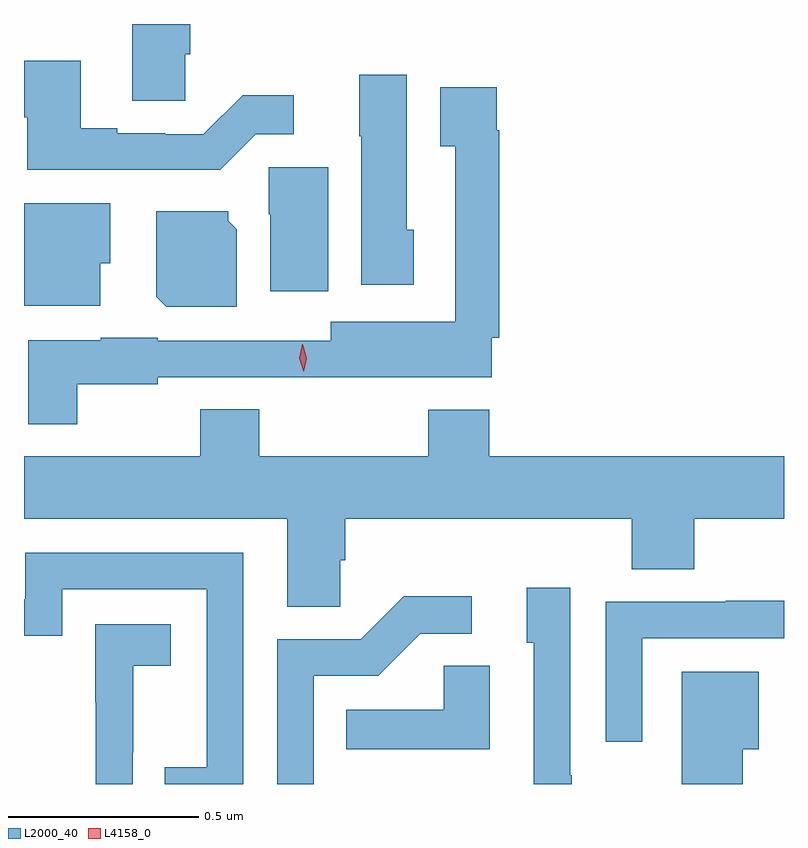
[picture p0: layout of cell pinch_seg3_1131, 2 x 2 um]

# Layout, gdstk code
import gdstk
lib = gdstk.Library(unit=1e-6, precision=1e-09)
def P(c, l, *ps):  # polygons
    for p in ps: c.add(gdstk.Polygon(p, *l))
L2000_40 = (2000, 40)
L4158_0 = (4158, 0)

pinch_seg3_1131 = lib.new_cell('pinch_seg3_1131')
P(pinch_seg3_1131, L2000_40, [(339.618,727.446),(339.632,727.446),(339.632,727.526),(339.479,727.526),(339.479,727.324),(339.618,727.324)],
  [(339.804,727.236),(339.904,727.236),(339.904,727.339),(339.769,727.339),(339.666,727.236),(339.566,727.236),(339.566,727.239),(339.439,727.239),(339.439,727.252),(339.343,727.252),(339.343,727.429),(339.194,727.429),(339.194,727.281),(339.203,727.281),(339.203,727.143),(339.608,727.143),(339.608,727.142),(339.71,727.142)],
  [(340.219,726.984),(340.201,726.984),(340.201,727.393),(340.076,727.393),(340.076,727.23),(340.082,727.23),(340.082,726.84),(340.219,726.84)],
  [(339.334,726.578),(339.546,726.578),(339.546,726.597),(340.063,726.597),(340.063,726.596),(340.425,726.596),(340.425,726.7),(340.445,726.7),(340.445,727.247),(340.438,727.247),(340.438,727.36),(340.289,727.36),(340.289,727.204),(340.329,727.204),(340.329,726.742),(340.001,726.742),(340.001,726.693),(339.546,726.693),(339.546,726.7),(339.396,726.7),(339.396,726.694),(339.205,726.694),(339.205,726.473),(339.334,726.473)],
  [(339.994,727.149),(339.838,727.149),(339.838,727.026),(339.842,727.026),(339.842,726.823),(339.994,726.823)],
  [(339.394,726.897),(339.421,726.897),(339.421,727.054),(339.194,727.054),(339.194,726.785),(339.394,726.785)],
  [(339.754,726.986),(339.732,727.008),(339.732,727.033),(339.542,727.033),(339.542,726.808),(339.568,726.782),(339.754,726.782)],
  [(340.026,726.115),(340.04,726.115),(340.04,726.224),(340.793,726.224),(340.793,726.091),(340.958,726.091),(340.958,726.224),(341.194,726.224),(341.194,726.388),(340.418,726.388),(340.418,726.511),(340.258,726.511),(340.258,726.388),(339.813,726.388),(339.813,726.512),(339.658,726.512),(339.658,726.388),(339.194,726.388),(339.194,726.224),(339.887,726.224),(339.887,725.992),(340.026,725.992)],
  [(339.771,726.135),(339.197,726.135),(339.197,726.012),(339.194,726.012),(339.194,725.916),(339.294,725.916),(339.294,726.039),(339.675,726.039),(339.675,725.57),(339.565,725.57),(339.565,725.526),(339.771,725.526)],
  [(340.635,725.549),(340.632,725.549),(340.632,726.043),(340.517,726.043),(340.517,725.898),(340.536,725.898),(340.536,725.526),(340.635,725.526)],
  [(339.957,725.811),(340.126,725.811),(340.237,725.922),(340.372,725.922),(340.372,726.02),(340.193,726.02),(340.08,725.907),(339.861,725.907),(339.861,725.526),(339.957,725.526)],
  [(340.821,725.91),(341.194,725.91),(341.194,726.008),(341.041,726.008),(341.041,726.006),(340.725,726.006),(340.725,725.637),(340.821,725.637)],
  [(339.48,725.609),(339.482,725.609),(339.482,725.837),(339.58,725.837),(339.58,725.947),(339.382,725.947),(339.382,725.741),(339.383,725.741),(339.383,725.526),(339.48,725.526)],
  [(340.42,725.837),(340.299,725.837),(340.299,725.722),(340.042,725.722),(340.042,725.618),(340.42,725.618)],
  [(341.086,725.618),(341.128,725.618),(341.128,725.821),(340.925,725.821),(340.925,725.526),(341.086,725.526)])
P(pinch_seg3_1131, L4158_0, [(339.93,726.611),(339.93,726.611),(339.918,726.646),(339.926,726.683),(339.926,726.683),(339.927,726.683),(339.938,726.647),(339.93,726.611)])

lib.write_gds('pinch_seg3_1131.gds')
